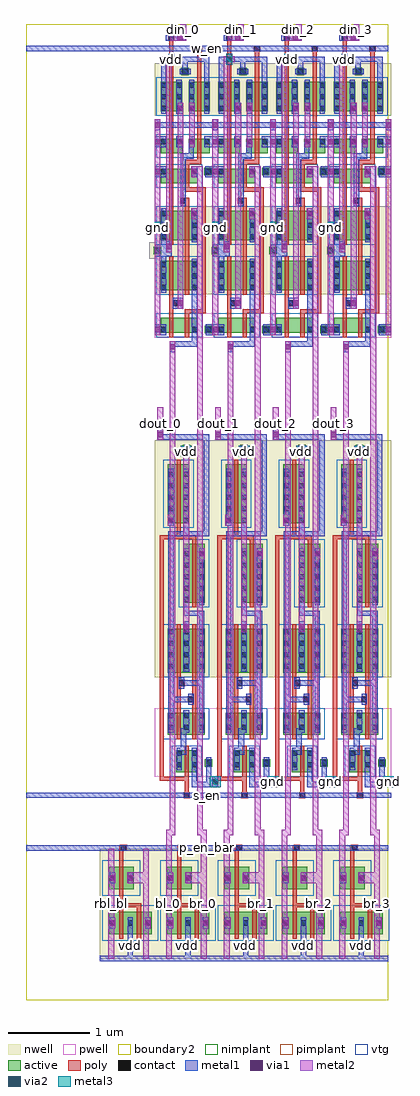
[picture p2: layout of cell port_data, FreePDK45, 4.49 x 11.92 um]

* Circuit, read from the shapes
.subckt port_data bl_0 bl_1 bl_2 bl_3 br_0 br_1 br_2 br_3 din_0 din_1 din_2 din_3 dout_0 dout_1 dout_2 dout_3 gnd p_en_bar rbl_bl rbl_br s_en vdd w_en
M1 n1 n2 gnd gnd nfet w=0.18u l=0.05u
M2 n3 din_0 gnd gnd nfet w=0.18u l=0.05u
M3 n2 din_0 gnd gnd nfet w=0.18u l=0.05u
M4 n4 n5 dout_0 gnd nfet w=0.27u l=0.05u
M5 gnd s_en n4 gnd nfet w=0.27u l=0.05u
M6 bl_0 w_en n1 gnd nfet w=0.18u l=0.05u
M7 br_0 w_en n3 gnd nfet w=0.18u l=0.05u
M8 n5 dout_0 n4 gnd nfet w=0.27u l=0.05u
M9 gnd w_en n6 gnd nfet w=0.18u l=0.05u
M10 n7 n8 gnd gnd nfet w=0.18u l=0.05u
M11 n9 din_1 gnd gnd nfet w=0.18u l=0.05u
M12 n8 din_1 gnd gnd nfet w=0.18u l=0.05u
M13 n10 n11 dout_1 gnd nfet w=0.27u l=0.05u
M14 gnd s_en n10 gnd nfet w=0.27u l=0.05u
M15 bl_1 w_en n7 gnd nfet w=0.18u l=0.05u
M16 br_1 w_en n9 gnd nfet w=0.18u l=0.05u
M17 n11 dout_1 n10 gnd nfet w=0.27u l=0.05u
M18 gnd w_en n12 gnd nfet w=0.18u l=0.05u
M19 n13 n14 gnd gnd nfet w=0.18u l=0.05u
M20 n15 din_2 gnd gnd nfet w=0.18u l=0.05u
M21 n14 din_2 gnd gnd nfet w=0.18u l=0.05u
M22 n16 n17 dout_2 gnd nfet w=0.27u l=0.05u
M23 gnd s_en n16 gnd nfet w=0.27u l=0.05u
M24 bl_2 w_en n13 gnd nfet w=0.18u l=0.05u
M25 br_2 w_en n15 gnd nfet w=0.18u l=0.05u
M26 n17 dout_2 n16 gnd nfet w=0.27u l=0.05u
M27 gnd w_en n18 gnd nfet w=0.18u l=0.05u
M28 n19 n20 gnd gnd nfet w=0.18u l=0.05u
M29 n21 din_3 gnd gnd nfet w=0.18u l=0.05u
M30 n20 din_3 gnd gnd nfet w=0.18u l=0.05u
M31 n22 n23 dout_3 gnd nfet w=0.27u l=0.05u
M32 gnd s_en n22 gnd nfet w=0.27u l=0.05u
M33 bl_3 w_en n19 gnd nfet w=0.18u l=0.05u
M34 br_3 w_en n21 gnd nfet w=0.18u l=0.05u
M35 n23 dout_3 n22 gnd nfet w=0.27u l=0.05u
M36 gnd w_en n24 gnd nfet w=0.18u l=0.05u
M37 vdd p_en_bar rbl_bl vdd pfet w=0.27u l=0.05u
M38 rbl_br p_en_bar rbl_bl vdd pfet w=0.27u l=0.05u
M39 rbl_br p_en_bar vdd vdd pfet w=0.27u l=0.05u
M40 n25 n2 vdd vdd pfet w=0.36u l=0.05u
M41 n26 din_0 vdd vdd pfet w=0.36u l=0.05u
M42 n2 din_0 vdd vdd pfet w=0.36u l=0.05u
M43 vdd n5 dout_0 vdd pfet w=0.54u l=0.05u
M44 dout_0 s_en bl_0 vdd pfet w=0.72u l=0.05u
M45 vdd p_en_bar bl_0 vdd pfet w=0.27u l=0.05u
M46 br_0 p_en_bar bl_0 vdd pfet w=0.27u l=0.05u
M47 bl_0 n6 n25 vdd pfet w=0.36u l=0.05u
M48 br_0 n6 n26 vdd pfet w=0.36u l=0.05u
M49 n5 dout_0 vdd vdd pfet w=0.54u l=0.05u
M50 br_0 s_en n5 vdd pfet w=0.72u l=0.05u
M51 br_0 p_en_bar vdd vdd pfet w=0.27u l=0.05u
M52 vdd w_en n6 vdd pfet w=0.36u l=0.05u
M53 n27 n8 vdd vdd pfet w=0.36u l=0.05u
M54 n28 din_1 vdd vdd pfet w=0.36u l=0.05u
M55 n8 din_1 vdd vdd pfet w=0.36u l=0.05u
M56 vdd n11 dout_1 vdd pfet w=0.54u l=0.05u
M57 dout_1 s_en bl_1 vdd pfet w=0.72u l=0.05u
M58 vdd p_en_bar bl_1 vdd pfet w=0.27u l=0.05u
M59 br_1 p_en_bar bl_1 vdd pfet w=0.27u l=0.05u
M60 bl_1 n12 n27 vdd pfet w=0.36u l=0.05u
M61 br_1 n12 n28 vdd pfet w=0.36u l=0.05u
M62 n11 dout_1 vdd vdd pfet w=0.54u l=0.05u
M63 br_1 s_en n11 vdd pfet w=0.72u l=0.05u
M64 br_1 p_en_bar vdd vdd pfet w=0.27u l=0.05u
M65 vdd w_en n12 vdd pfet w=0.36u l=0.05u
M66 n29 n14 vdd vdd pfet w=0.36u l=0.05u
M67 n30 din_2 vdd vdd pfet w=0.36u l=0.05u
M68 n14 din_2 vdd vdd pfet w=0.36u l=0.05u
M69 vdd n17 dout_2 vdd pfet w=0.54u l=0.05u
M70 dout_2 s_en bl_2 vdd pfet w=0.72u l=0.05u
M71 vdd p_en_bar bl_2 vdd pfet w=0.27u l=0.05u
M72 br_2 p_en_bar bl_2 vdd pfet w=0.27u l=0.05u
M73 bl_2 n18 n29 vdd pfet w=0.36u l=0.05u
M74 br_2 n18 n30 vdd pfet w=0.36u l=0.05u
M75 n17 dout_2 vdd vdd pfet w=0.54u l=0.05u
M76 br_2 s_en n17 vdd pfet w=0.72u l=0.05u
M77 br_2 p_en_bar vdd vdd pfet w=0.27u l=0.05u
M78 vdd w_en n18 vdd pfet w=0.36u l=0.05u
M79 n31 n20 vdd vdd pfet w=0.36u l=0.05u
M80 n32 din_3 vdd vdd pfet w=0.36u l=0.05u
M81 n20 din_3 vdd vdd pfet w=0.36u l=0.05u
M82 vdd n23 dout_3 vdd pfet w=0.54u l=0.05u
M83 dout_3 s_en bl_3 vdd pfet w=0.72u l=0.05u
M84 vdd p_en_bar bl_3 vdd pfet w=0.27u l=0.05u
M85 br_3 p_en_bar bl_3 vdd pfet w=0.27u l=0.05u
M86 bl_3 n24 n31 vdd pfet w=0.36u l=0.05u
M87 br_3 n24 n32 vdd pfet w=0.36u l=0.05u
M88 n23 dout_3 vdd vdd pfet w=0.54u l=0.05u
M89 br_3 s_en n23 vdd pfet w=0.72u l=0.05u
M90 br_3 p_en_bar vdd vdd pfet w=0.27u l=0.05u
M91 vdd w_en n24 vdd pfet w=0.36u l=0.05u
.ends

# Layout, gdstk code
import gdstk
lib = gdstk.Library(unit=1e-6, precision=5e-10)
def R(c, l, rs):  # rectangles x0, y0, x1, y1
    for r in rs: c.add(gdstk.rectangle(r[:2], r[2:], *l))
def A(c, l, x, y, w, h, nx, ny, dx, dy):  # array of equal rectangles
    R(c, l, [(x+i*dx, y+j*dy, x+i*dx+w, y+j*dy+h) for i in range(nx) for j in range(ny)])
active = (1, 0)
pwell = (2, 0)
nwell = (3, 0)
nimplant = (4, 0)
pimplant = (5, 0)
vtg = (6, 0)
poly = (9, 0)
contact = (10, 0)
metal1 = (11, 0)
via1 = (12, 0)
metal2 = (13, 0)
via2 = (14, 0)
metal3 = (15, 0)
boundary2 = (239, 0)

contact_11 = lib.new_cell('contact_11')
R(contact_11, active, [(0,0.0225,0.09,0.1125)])
R(contact_11, nwell, [(-0.055,-0.0325,0.145,0.1675)])
R(contact_11, pimplant, [(0,0.0225,0.09,0.1125)])
R(contact_11, contact, [(0.0125,0.035,0.0775,0.1)])
R(contact_11, metal1, [(0.0125,0,0.0775,0.135)])
R(contact_11, boundary2, [(-0.055,-0.0325,0.145,0.1675)])

pmos_m1_w0_270_sm1_dm1 = lib.new_cell('pmos_m1_w0_270_sm1_dm1')
R(pmos_m1_w0_270_sm1_dm1, active, [(0,0,0.305,0.27)])
R(pmos_m1_w0_270_sm1_dm1, nwell, [(-0.08,-0.08,0.385,0.35)])
R(pmos_m1_w0_270_sm1_dm1, pimplant, [(0,0,0.305,0.27)])
R(pmos_m1_w0_270_sm1_dm1, vtg, [(-0.08,-0.08,0.385,0.35)])
R(pmos_m1_w0_270_sm1_dm1, poly, [(0.1275,-0.055,0.1775,0.325), (0.1275,-0.055,0.1775,0.325)])
R(pmos_m1_w0_270_sm1_dm1, metal1, [(0.0125,0.0675,0.0775,0.2025), (0.2275,0.0675,0.2925,0.2025)])
R(pmos_m1_w0_270_sm1_dm1, boundary2, [(-0.08,-0.08,0.385,0.35)])
pmos_m1_w0_270_sm1_dm1.add(gdstk.Reference(contact_11, (0,0.0675)))
pmos_m1_w0_270_sm1_dm1.add(gdstk.Reference(contact_11, (0.215,0.0675)))
pmos_m1_w0_270_sm1_dm1.add(gdstk.Label('G', (0.1525,0.135), layer=9, texttype=0))
pmos_m1_w0_270_sm1_dm1.add(gdstk.Label('S', (0.045,0.135), layer=11, texttype=0))
pmos_m1_w0_270_sm1_dm1.add(gdstk.Label('D', (0.26,0.135), layer=11, texttype=0))

contact_14 = lib.new_cell('contact_14')
R(contact_14, poly, [(0.03,0,0.105,0.075)])
R(contact_14, contact, [(0.035,0.005,0.1,0.07)])
R(contact_14, metal1, [(0,0.005,0.135,0.07)])
R(contact_14, boundary2, [(0,0,0.135,0.075)])

contact_20 = lib.new_cell('contact_20')
R(contact_20, active, [(0.0225,0,0.1125,0.09)])
R(contact_20, nwell, [(-0.0325,-0.055,0.1675,0.145)])
R(contact_20, nimplant, [(0.0225,0,0.1125,0.09)])
R(contact_20, contact, [(0.035,0.0125,0.1,0.0775)])
R(contact_20, metal1, [(0,0.0125,0.135,0.0775)])
R(contact_20, boundary2, [(-0.0325,-0.055,0.1675,0.145)])

contact_17 = lib.new_cell('contact_17')
R(contact_17, metal1, [(0,0.035,0.135,0.1)])
R(contact_17, via1, [(0.035,0.035,0.1,0.1)])
R(contact_17, metal2, [(0.0325,0,0.1025,0.135)])
R(contact_17, boundary2, [(0,0,0.135,0.135)])

contact_21 = lib.new_cell('contact_21')
R(contact_21, metal1, [(0.0025,0,0.0675,0.135)])
R(contact_21, via1, [(0.0025,0.035,0.0675,0.1)])
R(contact_21, metal2, [(0,0,0.07,0.135)])
R(contact_21, boundary2, [(0,0,0.07,0.135)])

contact_22 = lib.new_cell('contact_22')
R(contact_22, metal2, [(0,0,0.07,0.135)])
R(contact_22, via2, [(0.0025,0.035,0.0675,0.1)])
R(contact_22, metal3, [(0,0,0.07,0.135)])
R(contact_22, boundary2, [(0,0,0.07,0.135)])

precharge_0 = lib.new_cell('precharge_0')
R(precharge_0, nwell, [(0,0,0.705,1.34)])
R(precharge_0, poly, [(0.24,-0.0375,0.29,0.0125), (0.265,-0.0375,0.29,0.0125), (0.24,-0.0125,0.29,0.165), (0.24,0.545,0.29,0.715), (0.24,0.665,0.505,0.715)])
R(precharge_0, metal1, [(0,-0.045,0.705,0.02), (0.34,0.8725,0.405,0.9375), (0.34,0.905,0.405,1.34), (0,1.3075,0.705,1.3725)])
R(precharge_0, metal2, [(0.105,0,0.175,1.34), (0.105,0,0.175,1.34), (0.53,0,0.6,1.34), (0.53,0,0.6,1.34), (0.14,0.2875,0.1575,0.4225), (0.3725,0.2875,0.565,0.4225), (0.14,0.8375,0.1575,0.9725), (0.565,0.8375,0.5875,0.9725)])
R(precharge_0, metal3, [(0.3375,1.1175,0.4075,1.2525)])
R(precharge_0, boundary2, [(0,0,0.705,1.34)])
precharge_0.add(gdstk.Reference(pmos_m1_w0_270_sm1_dm1, (0.1125,0.22)))
precharge_0.add(gdstk.Reference(pmos_m1_w0_270_sm1_dm1, (0.1125,0.77)))
precharge_0.add(gdstk.Reference(pmos_m1_w0_270_sm1_dm1, (0.3275,0.77)))
precharge_0.add(gdstk.Reference(contact_14, (0.2225,-0.05)))
precharge_0.add(gdstk.Reference(contact_20, (0.305,1.14)))
precharge_0.add(gdstk.Reference(contact_17, (0.305,1.1175)))
precharge_0.add(gdstk.Reference(contact_21, (0.3375,1.1175)))
precharge_0.add(gdstk.Reference(contact_22, (0.3375,1.1175)))
precharge_0.add(gdstk.Reference(contact_21, (0.1225,0.2875)))
precharge_0.add(gdstk.Reference(contact_21, (0.3375,0.2875)))
precharge_0.add(gdstk.Reference(contact_21, (0.1225,0.8375)))
precharge_0.add(gdstk.Reference(contact_21, (0.5525,0.8375)))
precharge_0.add(gdstk.Label('en_bar', (0.3525,-0.0125), layer=11, texttype=0))
precharge_0.add(gdstk.Label('vdd', (0.3725,1.185), layer=15, texttype=0))
precharge_0.add(gdstk.Label('bl', (0.14,0.67), layer=13, texttype=0))
precharge_0.add(gdstk.Label('br', (0.565,0.67), layer=13, texttype=0))

precharge_array = lib.new_cell('precharge_array')
A(precharge_array, metal1, 1.22, -0.045, 0.065, 0.065, 5, 1, 0.705, 0)
R(precharge_array, metal1, [(0,-0.045,4.425,0.02)])
R(precharge_array, metal2, [(1.005,0,1.075,1.34), (1.43,0,1.5,1.34), (1.71,0,1.78,1.34), (2.135,0,2.205,1.34), (2.415,0,2.485,1.34), (2.84,0,2.91,1.34), (3.12,0,3.19,1.34), (3.545,0,3.615,1.34), (3.825,0,3.895,1.34), (4.25,0,4.32,1.34)])
A(precharge_array, metal3, 1.2375, 1.1175, 0.07, 0.135, 5, 1, 0.705, 0)
R(precharge_array, boundary2, [(0,0,4.425,1.34)])
precharge_array.add(gdstk.Reference(precharge_0, (0.9,0)))
precharge_array.add(gdstk.Reference(precharge_0, (1.605,0)))
precharge_array.add(gdstk.Reference(precharge_0, (2.31,0)))
precharge_array.add(gdstk.Reference(precharge_0, (3.015,0)))
precharge_array.add(gdstk.Reference(precharge_0, (3.72,0)))
precharge_array.add(gdstk.Label('en_bar', (2.2125,-0.0125), layer=11, texttype=0))
precharge_array.add(gdstk.Label('vdd', (3.3875,1.185), layer=15, texttype=0))
precharge_array.add(gdstk.Label('vdd', (4.0925,1.185), layer=15, texttype=0))
precharge_array.add(gdstk.Label('vdd', (1.2725,1.185), layer=15, texttype=0))
precharge_array.add(gdstk.Label('vdd', (2.6825,1.185), layer=15, texttype=0))
precharge_array.add(gdstk.Label('vdd', (1.9775,1.185), layer=15, texttype=0))
precharge_array.add(gdstk.Label('bl_0', (1.04,0.67), layer=13, texttype=0))
precharge_array.add(gdstk.Label('br_0', (1.465,0.67), layer=13, texttype=0))
precharge_array.add(gdstk.Label('bl_1', (1.745,0.67), layer=13, texttype=0))
precharge_array.add(gdstk.Label('br_1', (2.17,0.67), layer=13, texttype=0))
precharge_array.add(gdstk.Label('bl_2', (2.45,0.67), layer=13, texttype=0))
precharge_array.add(gdstk.Label('br_2', (2.875,0.67), layer=13, texttype=0))
precharge_array.add(gdstk.Label('bl_3', (3.155,0.67), layer=13, texttype=0))
precharge_array.add(gdstk.Label('br_3', (3.58,0.67), layer=13, texttype=0))
precharge_array.add(gdstk.Label('bl_4', (3.86,0.67), layer=13, texttype=0))
precharge_array.add(gdstk.Label('br_4', (4.285,0.67), layer=13, texttype=0))

sense_amp = lib.new_cell('sense_amp')
R(sense_amp, active, [(0.3075,0.455,0.3975,0.545), (0.1275,0.695,0.3875,1.415), (0.1275,0.695,0.2025,1.415), (0.1275,0.695,0.2025,1.415), (0.3125,0.695,0.3875,1.415), (0.3125,0.695,0.3875,1.415), (0.1275,0.78,0.2025,1.415), (0.3125,0.78,0.3875,1.415), (0.3175,1.665,0.5775,2.385), (0.3175,1.665,0.3925,2.385), (0.3175,1.665,0.3925,2.385), (0.5025,1.665,0.5775,2.385), (0.5025,1.665,0.5775,2.385), (0.3175,1.75,0.3925,2.385), (0.5025,1.75,0.5775,2.385), (0.1275,2.7025,0.2025,3.1975), (0.1275,2.7025,0.3875,3.2425), (0.1275,2.7025,0.2025,3.2425), (0.1275,2.7025,0.2025,3.2425), (0.3125,2.7025,0.3875,3.1975), (0.3125,2.7025,0.3875,3.2425), (0.3125,2.7025,0.3875,3.2425), (0.3175,2.7025,0.3925,3.1975), (0.3175,2.7025,0.5775,3.2425), (0.3175,2.7025,0.3925,3.2425), (0.3175,2.7025,0.3925,3.2425), (0.5025,2.7025,0.5775,3.1975), (0.5025,2.7025,0.5775,3.2425), (0.5025,2.7025,0.5775,3.2425), (0.1275,3.7275,0.2025,3.9425), (0.1275,3.7275,0.3875,3.9975), (0.1275,3.7275,0.2025,3.9975), (0.1275,3.7275,0.2025,3.9975), (0.3125,3.7275,0.3875,3.9425), (0.3125,3.7275,0.3875,3.9975), (0.3125,3.7275,0.3875,3.9975), (0.3175,3.7275,0.3925,3.9425), (0.3175,3.7275,0.5775,3.9975), (0.3175,3.7275,0.3925,3.9975), (0.3175,3.7275,0.3925,3.9975), (0.5025,3.7275,0.5775,3.9425), (0.5025,3.7275,0.5775,3.9975), (0.5025,3.7275,0.5775,3.9975), (0.2275,4.185,0.3025,4.4), (0.2275,4.185,0.4875,4.455), (0.2275,4.185,0.3025,4.455), (0.2275,4.185,0.3025,4.455), (0.4125,4.185,0.4875,4.4), (0.4125,4.185,0.4875,4.455), (0.4125,4.185,0.4875,4.455), (0.58,4.295,0.67,4.385)])
R(sense_amp, pwell, [(-0.035,3.6725,0.74,4.51), (0.0725,3.6725,0.4425,4.0525), (0.2625,3.6725,0.6325,4.0525), (0.1725,4.13,0.5425,4.51), (0.525,4.24,0.725,4.44)])
R(sense_amp, nwell, [(-0.035,0.4,0.74,3.2975), (0.2525,0.4,0.4525,0.6), (0.0725,0.64,0.4425,1.47), (0.2625,1.61,0.6325,2.44), (0.0725,2.6475,0.4425,3.2975), (0.2625,2.6475,0.6325,3.2975)])
R(sense_amp, nimplant, [(0.3075,0.455,0.3975,0.545), (0.1275,3.7275,0.3875,3.9975), (0.3175,3.7275,0.5775,3.9975), (0.2275,4.185,0.4875,4.455)])
R(sense_amp, pimplant, [(0.1275,0.695,0.3875,1.415), (0.3175,1.665,0.5775,2.385), (0.1275,2.7025,0.3875,3.2425), (0.3175,2.7025,0.5775,3.2425), (0.58,4.295,0.67,4.385)])
R(sense_amp, vtg, [(0.0725,0.64,0.4425,1.47), (0.2625,1.61,0.6325,2.44), (0.0725,2.6475,0.4425,3.2975), (0.2625,2.6475,0.6325,3.2975), (0.0725,3.6725,0.4425,4.0525), (0.2625,3.6725,0.6325,4.0525), (0.1725,4.13,0.5425,4.51)])
R(sense_amp, poly, [(0.2325,0.64,0.2825,0.695), (0.2325,0.64,0.2825,1.47), (0.2325,1.415,0.2825,1.47), (0.2325,1.47,0.2825,1.56), (0.0275,1.56,0.4725,1.61), (0.0275,1.61,0.0775,4.51), (0.4225,1.61,0.4725,1.665), (0.4225,1.61,0.4725,2.44), (0.4225,2.385,0.4725,2.44), (0.2325,2.6475,0.2825,2.7025), (0.2325,2.6475,0.2825,3.2975), (0.4225,2.6475,0.4725,2.7025), (0.4225,2.6475,0.4725,3.2975), (0.2325,2.915,0.2825,3.6725), (0.4225,2.915,0.4725,3.6725), (0.2325,3.2425,0.2825,3.2975), (0.4225,3.2425,0.4725,3.2975), (0.2575,3.3275,0.3325,3.4025), (0.3725,3.5275,0.4475,3.6025), (0.2325,3.6725,0.2825,3.7275), (0.2325,3.6725,0.2825,4.0525), (0.4225,3.6725,0.4725,3.7275), (0.4225,3.6725,0.4725,4.0525), (0.2325,3.9975,0.2825,4.0525), (0.4225,3.9975,0.4725,4.0525), (0.3325,4.13,0.3825,4.185), (0.3325,4.13,0.3825,4.51), (0.3325,4.455,0.3825,4.51), (0.0275,4.51,0.3825,4.56), (0.3325,4.56,0.3825,4.765), (0.32,4.6975,0.395,4.7725)])
A(sense_amp, contact, 0.1325, 0.785, 0.065, 0.065, 1, 5, 0, 0.14)
A(sense_amp, contact, 0.3175, 0.785, 0.065, 0.065, 1, 5, 0, 0.14)
A(sense_amp, contact, 0.3225, 1.755, 0.065, 0.065, 1, 5, 0, 0.14)
A(sense_amp, contact, 0.5075, 1.755, 0.065, 0.065, 1, 5, 0, 0.14)
A(sense_amp, contact, 0.1325, 2.7075, 0.065, 0.065, 1, 4, 0, 0.14)
A(sense_amp, contact, 0.3225, 2.7075, 0.065, 0.065, 1, 4, 0, 0.14)
A(sense_amp, contact, 0.5075, 2.7075, 0.065, 0.065, 1, 4, 0, 0.14)
R(sense_amp, contact, [(0.32,0.4675,0.385,0.5325), (0.2625,3.3325,0.3275,3.3975), (0.3775,3.5325,0.4425,3.5975), (0.1325,3.7325,0.1975,3.7975), (0.3225,3.7325,0.3875,3.7975), (0.5075,3.7325,0.5725,3.7975), (0.1325,3.8725,0.1975,3.9375), (0.3225,3.8725,0.3875,3.9375), (0.5075,3.8725,0.5725,3.9375), (0.2325,4.19,0.2975,4.255), (0.4175,4.19,0.4825,4.255), (0.5925,4.3075,0.6575,4.3725), (0.2325,4.33,0.2975,4.395), (0.4175,4.33,0.4825,4.395), (0.325,4.7025,0.39,4.7675)])
R(sense_amp, metal1, [(0.0025,0.2625,0.0675,0.3975), (0.0025,0.3275,0.63,0.3975), (0.565,0.3275,0.63,1.575), (0.285,0.4675,0.42,0.5325), (0.32,0.4675,0.385,0.6025), (0.1325,0.75,0.1975,1.445), (0.3175,0.75,0.3825,1.445), (0.1275,1.31,0.1925,1.445), (0.32,1.3775,0.385,1.575), (0.1325,1.51,0.63,1.575), (0.1325,1.575,0.1975,2.6725), (0.3225,1.72,0.3875,2.415), (0.5075,1.72,0.5725,2.415), (0.51,1.72,0.575,1.855), (0.3225,2.35,0.3875,2.545), (0.3225,2.48,0.5725,2.545), (0.5075,2.48,0.5725,2.675), (0.32,2.61,0.385,2.745), (0.1325,2.6725,0.1975,3.2275), (0.3175,2.6725,0.3825,3.2275), (0.3225,2.6725,0.3875,3.2275), (0.5075,2.6725,0.5725,3.2275), (0.1325,2.835,0.1975,3.7025), (0.5075,2.835,0.5725,3.6975), (0.2625,3.2975,0.3275,3.4325), (0.2825,3.3325,0.5725,3.3975), (0.3775,3.4975,0.4425,3.6325), (0.1325,3.5325,0.4225,3.5975), (0.1325,3.6975,0.1975,3.9725), (0.3175,3.6975,0.3825,3.9725), (0.3225,3.6975,0.3875,3.9725), (0.5075,3.6975,0.5725,3.9725), (0.2825,3.915,0.3525,4.2425), (0.2325,4.155,0.2975,4.43), (0.4175,4.155,0.4825,4.43), (0.5925,4.2725,0.6575,4.4075), (0.5925,4.4075,0.6575,4.6375), (0.4175,4.42,0.4825,4.5725), (0.6575,4.5025,0.6725,4.5725), (0.6725,4.5025,0.7375,4.6375), (0.4175,4.5725,0.74,4.6375), (-0.035,4.7025,0.74,4.7675), (-0.035,4.7025,0.74,4.7675), (0.23,4.7025,0.295,4.7675), (0.29,4.7025,0.425,4.7675)])
R(sense_amp, via1, [(0.0025,0.2975,0.0675,0.3625), (0.32,0.5025,0.385,0.5675), (0.1275,1.345,0.1925,1.41), (0.51,1.755,0.575,1.82), (0.32,2.645,0.385,2.71), (0.6725,4.5375,0.7375,4.6025)])
R(sense_amp, metal2, [(0,0,0.07,0.3975), (0,0,0.07,0.3975), (0.15,0,0.22,4.885), (0.15,0,0.22,4.885), (0.485,0,0.555,4.885), (0.485,0,0.555,4.885), (0.3175,0.4675,0.3875,0.6025), (0.3175,0.4675,0.3875,0.6025), (0.3175,0.6,0.3875,2.61), (0.125,1.31,0.195,1.445), (0.5075,1.72,0.5775,1.855), (0.3175,2.61,0.3875,2.745), (0.67,4.5025,0.74,4.6375), (0.67,4.5025,0.74,4.6375)])
R(sense_amp, boundary2, [(0,0,0.705,4.885)])
sense_amp.add(gdstk.Label('en', (0.258,4.735), layer=11, texttype=0))
sense_amp.add(gdstk.Label('dout', (0.0345,0.023), layer=13, texttype=0))
sense_amp.add(gdstk.Label('gnd', (0.7025,4.61), layer=13, texttype=0))
sense_amp.add(gdstk.Label('br', (0.52,0.023), layer=13, texttype=0))
sense_amp.add(gdstk.Label('bl', (0.19,0.03), layer=13, texttype=0))
sense_amp.add(gdstk.Label('vdd', (0.3525,0.505), layer=13, texttype=0))
sense_amp.add(gdstk.Label('bl', (0.185,2.4425), layer=13, texttype=0))
sense_amp.add(gdstk.Label('br', (0.52,2.4425), layer=13, texttype=0))
sense_amp.add(gdstk.Label('dout', (0.035,0.199), layer=13, texttype=0))
sense_amp.add(gdstk.Label('en', (0.3525,4.735), layer=11, texttype=0))
sense_amp.add(gdstk.Label('vdd', (0.3525,0.535), layer=13, texttype=0))
sense_amp.add(gdstk.Label('gnd', (0.705,4.57), layer=13, texttype=0))

contact_6 = lib.new_cell('contact_6')
R(contact_6, metal2, [(0.0325,0,0.1025,0.135)])
R(contact_6, via2, [(0.035,0.035,0.1,0.1)])
R(contact_6, metal3, [(0,0.0325,0.135,0.1025)])
R(contact_6, boundary2, [(0,0,0.135,0.135)])

sense_amp_array = lib.new_cell('sense_amp_array')
A(sense_amp_array, metal1, 1.925, 4.7025, 0.065, 0.065, 4, 1, 0.705, 0)
R(sense_amp_array, metal1, [(0,4.7025,4.425,4.7675)])
A(sense_amp_array, metal2, 1.605, 0, 0.07, 0.3975, 4, 1, 0.705, 0)
R(sense_amp_array, metal2, [(1.755,0,1.825,4.885), (2.09,0,2.16,4.885), (2.46,0,2.53,4.885), (2.795,0,2.865,4.885), (3.165,0,3.235,4.885), (3.5,0,3.57,4.885), (3.87,0,3.94,4.885), (4.205,0,4.275,4.885)])
A(sense_amp_array, metal3, 1.89, 0.4675, 0.135, 0.135, 4, 1, 0.705, 0)
A(sense_amp_array, metal3, 2.2425, 4.5025, 0.135, 0.135, 4, 1, 0.705, 0)
R(sense_amp_array, boundary2, [(0,0,4.425,4.885)])
sense_amp_array.add(gdstk.Reference(sense_amp, (1.605,0)))
sense_amp_array.add(gdstk.Reference(sense_amp, (2.31,0)))
sense_amp_array.add(gdstk.Reference(sense_amp, (3.015,0)))
sense_amp_array.add(gdstk.Reference(sense_amp, (3.72,0)))
sense_amp_array.add(gdstk.Reference(contact_6, (2.2425,4.5025)))
sense_amp_array.add(gdstk.Reference(contact_6, (1.89,0.4675)))
sense_amp_array.add(gdstk.Reference(contact_6, (2.9475,4.5025)))
sense_amp_array.add(gdstk.Reference(contact_6, (2.595,0.4675)))
sense_amp_array.add(gdstk.Reference(contact_6, (3.6525,4.5025)))
sense_amp_array.add(gdstk.Reference(contact_6, (3.3,0.4675)))
sense_amp_array.add(gdstk.Reference(contact_6, (4.3575,4.5025)))
sense_amp_array.add(gdstk.Reference(contact_6, (4.005,0.4675)))
sense_amp_array.add(gdstk.Label('gnd', (3.72,4.57), layer=15, texttype=0))
sense_amp_array.add(gdstk.Label('gnd', (4.425,4.57), layer=15, texttype=0))
sense_amp_array.add(gdstk.Label('gnd', (3.015,4.57), layer=15, texttype=0))
sense_amp_array.add(gdstk.Label('gnd', (2.31,4.57), layer=15, texttype=0))
sense_amp_array.add(gdstk.Label('vdd', (3.3675,0.535), layer=15, texttype=0))
sense_amp_array.add(gdstk.Label('vdd', (1.9575,0.535), layer=15, texttype=0))
sense_amp_array.add(gdstk.Label('vdd', (2.6625,0.535), layer=15, texttype=0))
sense_amp_array.add(gdstk.Label('vdd', (4.0725,0.535), layer=15, texttype=0))
sense_amp_array.add(gdstk.Label('bl_0', (1.79,2.4425), layer=13, texttype=0))
sense_amp_array.add(gdstk.Label('br_0', (2.125,2.4425), layer=13, texttype=0))
sense_amp_array.add(gdstk.Label('data_0', (1.64,0.199), layer=13, texttype=0))
sense_amp_array.add(gdstk.Label('bl_1', (2.495,2.4425), layer=13, texttype=0))
sense_amp_array.add(gdstk.Label('br_1', (2.83,2.4425), layer=13, texttype=0))
sense_amp_array.add(gdstk.Label('data_1', (2.345,0.199), layer=13, texttype=0))
sense_amp_array.add(gdstk.Label('bl_2', (3.2,2.4425), layer=13, texttype=0))
sense_amp_array.add(gdstk.Label('br_2', (3.535,2.4425), layer=13, texttype=0))
sense_amp_array.add(gdstk.Label('data_2', (3.05,0.199), layer=13, texttype=0))
sense_amp_array.add(gdstk.Label('bl_3', (3.905,2.4425), layer=13, texttype=0))
sense_amp_array.add(gdstk.Label('br_3', (4.24,2.4425), layer=13, texttype=0))
sense_amp_array.add(gdstk.Label('data_3', (3.755,0.199), layer=13, texttype=0))
sense_amp_array.add(gdstk.Label('en', (2.2125,4.735), layer=11, texttype=0))

write_driver = lib.new_cell('write_driver')
R(write_driver, active, [(0.2925,0.535,0.3825,0.625), (0.04,0.705,0.115,1.065), (0.04,0.705,0.115,1.065), (0.04,0.705,0.3,1.065), (0.225,0.705,0.3,1.065), (0.225,0.705,0.3,1.065), (0.38,0.705,0.455,1.065), (0.38,0.705,0.455,1.065), (0.38,0.705,0.64,1.065), (0.565,0.705,0.64,1.065), (0.565,0.705,0.64,1.065), (0.04,0.71,0.115,1.065), (0.225,0.71,0.3,1.065), (0.38,0.71,0.455,1.065), (0.565,0.71,0.64,1.065), (0.04,1.4,0.115,1.58), (0.04,1.4,0.115,1.58), (0.04,1.4,0.3,1.58), (0.04,1.4,0.115,1.475), (0.225,1.4,0.3,1.58), (0.225,1.4,0.3,1.58), (0.225,1.4,0.3,1.475), (0.38,1.4,0.455,1.58), (0.38,1.4,0.455,1.58), (0.38,1.4,0.64,1.58), (0.38,1.4,0.455,1.475), (0.565,1.4,0.64,1.58), (0.565,1.4,0.64,1.58), (0.565,1.4,0.64,1.475), (0.5725,1.7575,0.6625,1.8475), (0.04,1.765,0.115,1.945), (0.04,1.765,0.115,1.945), (0.04,1.765,0.115,1.84), (0.04,1.765,0.49,1.945), (0.1975,1.765,0.3375,1.945), (0.415,1.765,0.49,1.945), (0.415,1.765,0.49,1.945), (0.415,1.765,0.49,1.84), (0.04,2.28,0.115,2.64), (0.04,2.28,0.115,2.64), (0.04,2.28,0.115,2.635), (0.04,2.28,0.49,2.64), (0.1975,2.28,0.3375,2.64), (0.415,2.28,0.49,2.64), (0.415,2.28,0.49,2.64), (0.415,2.28,0.49,2.635), (-0.045,2.72,0.045,2.81), (0.04,2.8925,0.115,3.2525), (0.04,2.8925,0.115,3.2525), (0.04,2.8925,0.49,3.2525), (0.1925,2.8925,0.3325,3.2525), (0.415,2.8925,0.49,3.2525), (0.415,2.8925,0.49,3.2525), (0.04,2.8975,0.115,3.2525), (0.415,2.8975,0.49,3.2525), (0.04,3.5875,0.115,3.7675), (0.04,3.5875,0.115,3.7675), (0.04,3.5875,0.49,3.7675), (0.1925,3.5875,0.3325,3.7675), (0.415,3.5875,0.49,3.7675), (0.415,3.5875,0.49,3.7675), (0.575,3.685,0.665,3.775), (0.04,3.6925,0.115,3.7675), (0.415,3.6925,0.49,3.7675)])
R(write_driver, pwell, [(-0.035,1.345,0.74,2), (-0.015,1.345,0.355,1.635), (0.325,1.345,0.695,1.635), (0.5175,1.7025,0.7175,1.9025), (-0.015,1.71,0.545,2), (-0.035,3.5325,0.74,3.83), (-0.015,3.5325,0.545,3.8225), (0.52,3.63,0.72,3.83)])
R(write_driver, nwell, [(-0.035,0.48,0.74,1.12), (0.2375,0.48,0.4375,0.68), (-0.015,0.65,0.355,1.12), (0.325,0.65,0.695,1.12), (-0.035,2.225,0.74,3.3), (-0.015,2.225,0.545,2.695), (-0.1,2.665,0.1,2.865), (-0.015,2.8375,0.545,3.3075)])
R(write_driver, nimplant, [(0.2925,0.535,0.3825,0.625), (0.04,1.4,0.3,1.58), (0.38,1.4,0.64,1.58), (0.04,1.765,0.49,1.945), (-0.045,2.72,0.045,2.81), (0.04,3.5875,0.49,3.7675)])
R(write_driver, pimplant, [(0.04,0.705,0.3,1.065), (0.38,0.705,0.64,1.065), (0.5725,1.7575,0.6625,1.8475), (0.04,2.28,0.49,2.64), (0.04,2.8925,0.49,3.2525), (0.575,3.685,0.665,3.775)])
R(write_driver, vtg, [(-0.015,0.65,0.355,1.12), (0.325,0.65,0.695,1.12), (-0.015,1.345,0.355,1.635), (0.325,1.345,0.695,1.635), (-0.015,1.71,0.545,2), (-0.015,2.225,0.545,2.695), (-0.015,2.8375,0.545,3.3075), (-0.015,3.5325,0.545,3.8225)])
R(write_driver, poly, [(0.1325,0.1325,0.2075,0.2075), (0.145,0.1375,0.195,0.65), (0.4725,0.2625,0.5475,0.3375), (0.485,0.2675,0.535,0.65), (0.145,0.65,0.195,0.705), (0.145,0.65,0.195,1.12), (0.485,0.65,0.535,0.705), (0.485,0.65,0.535,1.12), (0.145,1.065,0.195,1.12), (0.485,1.065,0.535,1.12), (0.145,1.12,0.195,1.345), (0.485,1.12,0.535,1.345), (0.145,1.345,0.195,1.635), (0.145,1.345,0.195,1.4), (0.485,1.345,0.535,1.635), (0.485,1.345,0.535,1.4), (0.145,1.58,0.195,1.635), (0.485,1.58,0.535,1.635), (0.145,1.635,0.195,1.71), (0.485,1.635,0.535,1.66), (0.335,1.66,0.535,1.71), (0.145,1.71,0.195,2), (0.145,1.71,0.195,1.765), (0.335,1.71,0.385,2), (0.335,1.71,0.385,1.765), (0.145,1.945,0.195,2), (0.335,1.945,0.385,2), (0.335,1.995,0.59,2.045), (0.54,1.995,0.59,3.4825), (0.145,2,0.195,2.225), (0.2775,2.12,0.3525,2.195), (0.335,2.12,0.385,2.225), (0.145,2.225,0.195,2.28), (0.145,2.225,0.195,2.695), (0.335,2.225,0.385,2.28), (0.335,2.225,0.385,2.695), (0.145,2.64,0.195,2.695), (0.335,2.64,0.385,2.695), (0.335,2.695,0.385,2.8375), (0.145,2.8375,0.195,2.8925), (0.145,2.8375,0.195,3.3075), (0.335,2.8375,0.385,2.8925), (0.335,2.8375,0.385,3.3075), (0.145,3.2525,0.195,3.3075), (0.335,3.2525,0.385,3.3075), (0.145,3.3075,0.195,3.5325), (0.18,3.37,0.255,3.445), (0.335,3.4825,0.59,3.5325), (0.145,3.5325,0.195,3.8225), (0.145,3.5325,0.195,3.5875), (0.335,3.5325,0.385,3.8225), (0.335,3.5325,0.385,3.5875), (0.145,3.7675,0.195,3.8225), (0.335,3.7675,0.385,3.8225)])
A(write_driver, contact, 0.045, 0.715, 0.065, 0.065, 1, 3, 0, 0.14)
A(write_driver, contact, 0.23, 0.715, 0.065, 0.065, 1, 3, 0, 0.14)
A(write_driver, contact, 0.385, 0.715, 0.065, 0.065, 1, 3, 0, 0.14)
A(write_driver, contact, 0.57, 0.715, 0.065, 0.065, 1, 3, 0, 0.14)
A(write_driver, contact, 0.045, 2.285, 0.065, 0.065, 1, 3, 0, 0.14)
A(write_driver, contact, 0.42, 2.285, 0.065, 0.065, 1, 3, 0, 0.14)
A(write_driver, contact, 0.045, 2.9025, 0.065, 0.065, 1, 3, 0, 0.14)
A(write_driver, contact, 0.42, 2.9025, 0.065, 0.065, 1, 3, 0, 0.14)
R(write_driver, contact, [(0.1375,0.1375,0.2025,0.2025), (0.4775,0.2675,0.5425,0.3325), (0.305,0.5475,0.37,0.6125), (0.045,1.405,0.11,1.47), (0.23,1.405,0.295,1.47), (0.385,1.405,0.45,1.47), (0.57,1.405,0.635,1.47), (0.045,1.77,0.11,1.835), (0.42,1.77,0.485,1.835), (0.585,1.77,0.65,1.835), (0.2825,2.125,0.3475,2.19), (-0.0325,2.7325,0.0325,2.7975), (0.185,3.375,0.25,3.44), (0.045,3.6975,0.11,3.7625), (0.42,3.6975,0.485,3.7625), (0.5875,3.6975,0.6525,3.7625)])
R(write_driver, metal1, [(0.2075,0.135,0.3425,0.2), (0.1025,0.1375,0.2375,0.2025), (0.045,0.2675,0.635,0.3325), (0.045,0.2675,0.635,0.3325), (0.045,0.3975,0.635,0.4625), (0.105,0.3975,0.24,0.4625), (0.045,0.4625,0.11,0.68), (0.3025,0.4625,0.3675,0.6125), (0.57,0.4625,0.635,0.68), (0.27,0.5475,0.405,0.6125), (0.045,0.68,0.11,1.095), (0.23,0.68,0.295,1.095), (0.385,0.68,0.45,1.095), (0.57,0.68,0.635,1.095), (0.2475,0.96,0.3125,1.095), (0.3875,0.96,0.4525,1.095), (-0.0325,1.165,0.0325,1.3), (0.6725,1.165,0.7375,1.3), (-0.035,1.2,0.74,1.265), (-0.0325,1.37,0.0325,1.505), (0.0275,1.37,0.04,1.505), (0.035,1.37,0.045,1.505), (0.045,1.37,0.11,1.505), (0.23,1.37,0.295,1.505), (0.2475,1.37,0.3125,1.505), (0.385,1.37,0.45,1.505), (0.3875,1.37,0.4525,1.505), (0.57,1.37,0.635,1.505), (0.63,1.37,0.6725,1.505), (0.6725,1.37,0.7375,1.505), (0.38,1.4525,0.445,1.5775), (0.2825,1.5775,0.3475,2.175), (0.2825,1.5775,0.445,1.6425), (-0.0325,1.735,0.0325,1.87), (0.0275,1.735,0.04,1.87), (0.035,1.735,0.045,1.87), (0.045,1.735,0.11,1.87), (0.4175,1.735,0.4825,1.87), (0.42,1.735,0.485,1.87), (0.585,1.735,0.65,1.87), (0.65,1.735,0.6725,1.87), (0.6725,1.735,0.7375,1.87), (0.2825,2.09,0.3475,2.225), (0.045,2.25,0.11,2.665), (0.4175,2.25,0.4825,2.385), (0.42,2.25,0.485,2.665), (0.095,2.65,0.11,2.785), (0.1075,2.65,0.1725,2.785), (0.045,2.665,0.11,2.8675), (-0.0325,2.6975,0.0325,2.8325), (0.0325,2.6975,0.175,2.8325), (0.045,2.8675,0.11,3.2825), (0.42,2.8675,0.485,3.2825), (0.42,3.2825,0.485,3.6625), (0.185,3.34,0.25,3.475), (0.2475,3.34,0.3125,3.475), (-0.0325,3.6625,0.0325,3.7975), (0.0275,3.6625,0.04,3.7975), (0.035,3.6625,0.045,3.7975), (0.045,3.6625,0.11,3.7975), (0.42,3.6625,0.485,3.7975), (0.5875,3.6625,0.6525,3.7975), (0.6525,3.6625,0.6725,3.7975), (0.6725,3.6625,0.7375,3.7975), (0.42,3.7975,0.485,3.8725), (0.15,3.8725,0.485,3.9375), (0.1525,3.8725,0.2175,4.0075)])
R(write_driver, via1, [(0.2425,0.135,0.3075,0.2), (0.14,0.3975,0.205,0.4625), (0.2475,0.995,0.3125,1.06), (0.3875,0.995,0.4525,1.06), (-0.0325,1.2,0.0325,1.265), (0.6725,1.2,0.7375,1.265), (-0.0325,1.405,0.0325,1.47), (0.2475,1.405,0.3125,1.47), (0.3875,1.405,0.4525,1.47), (0.6725,1.405,0.7375,1.47), (-0.0325,1.77,0.0325,1.835), (0.4175,1.77,0.4825,1.835), (0.6725,1.77,0.7375,1.835), (0.4175,2.285,0.4825,2.35), (0.1075,2.685,0.1725,2.75), (0.2475,3.375,0.3125,3.44), (-0.0325,3.6975,0.0325,3.7625), (0.6725,3.6975,0.7375,3.7625), (0.1525,3.9075,0.2175,3.9725)])
R(write_driver, metal2, [(0.28,0,0.35,0.14), (0.28,0,0.35,0.14), (0.1575,0.1325,0.35,0.2025), (0.2075,0.1325,0.3425,0.2025), (0.105,0.395,0.24,0.465), (0.105,0.395,0.24,0.465), (0.105,0.465,0.175,2.785), (0.245,0.96,0.315,1.095), (0.385,0.96,0.455,1.095), (0.245,1.095,0.315,1.37), (0.385,1.095,0.455,1.37), (-0.035,1.1625,0.035,3.7975), (-0.035,1.1625,0.035,3.7975), (-0.035,1.165,0.035,1.3), (0.67,1.165,0.74,3.7975), (0.67,1.165,0.74,1.3), (-0.035,1.37,0.035,1.505), (0.245,1.37,0.315,3.4675), (0.245,1.37,0.315,1.505), (0.385,1.37,0.455,1.505), (0.67,1.37,0.74,1.505), (-0.035,1.735,0.035,1.87), (0.415,1.735,0.485,1.87), (0.485,1.735,0.555,4.175), (0.485,1.735,0.555,4.175), (0.67,1.735,0.74,1.87), (0.415,2.25,0.485,2.385), (0.105,2.65,0.175,2.785), (0.245,3.34,0.315,3.475), (-0.035,3.6625,0.035,3.7975), (0.67,3.6625,0.74,3.7975), (0.15,3.8725,0.22,4.0075), (0.15,3.875,0.22,4.175), (0.15,3.875,0.22,4.175)])
R(write_driver, boundary2, [(0,0,0.705,4.175)])
write_driver.add(gdstk.Label('en', (0.3325,0.3), layer=11, texttype=0))
write_driver.add(gdstk.Label('din', (0.32,0.035), layer=13, texttype=0))
write_driver.add(gdstk.Label('vdd', (0.1725,0.4325), layer=13, texttype=0))
write_driver.add(gdstk.Label('br', (0.52,4.15), layer=13, texttype=0))
write_driver.add(gdstk.Label('bl', (0.19,4.138), layer=13, texttype=0))
write_driver.add(gdstk.Label('gnd', (-0.005,1.57), layer=13, texttype=0))
write_driver.add(gdstk.Label('din', (0.315,0.07), layer=13, texttype=0))
write_driver.add(gdstk.Label('bl', (0.185,4.025), layer=13, texttype=0))
write_driver.add(gdstk.Label('br', (0.52,2.955), layer=13, texttype=0))
write_driver.add(gdstk.Label('en', (0.34,0.3), layer=11, texttype=0))
write_driver.add(gdstk.Label('vdd', (0.1725,0.43), layer=13, texttype=0))
write_driver.add(gdstk.Label('gnd', (0,2.48), layer=13, texttype=0))

write_driver_array = lib.new_cell('write_driver_array')
R(write_driver_array, metal1, [(0,0.2675,4.425,0.3325)])
A(write_driver_array, metal2, 1.885, 0, 0.07, 0.14, 4, 1, 0.705, 0)
A(write_driver_array, metal2, 2.09, 1.735, 0.07, 2.44, 4, 1, 0.705, 0)
A(write_driver_array, metal2, 1.755, 3.875, 0.07, 0.3, 4, 1, 0.705, 0)
A(write_driver_array, metal3, 1.7425, 0.3625, 0.07, 0.135, 4, 1, 0.705, 0)
A(write_driver_array, metal3, 1.57, 2.4125, 0.07, 0.135, 4, 1, 0.705, 0)
R(write_driver_array, boundary2, [(0,0,4.425,4.175)])
write_driver_array.add(gdstk.Reference(write_driver, (1.605,0)))
write_driver_array.add(gdstk.Reference(write_driver, (2.31,0)))
write_driver_array.add(gdstk.Reference(write_driver, (3.015,0)))
write_driver_array.add(gdstk.Reference(write_driver, (3.72,0)))
write_driver_array.add(gdstk.Reference(contact_22, (1.7425,0.3625)))
write_driver_array.add(gdstk.Reference(contact_22, (1.57,2.4125)))
write_driver_array.add(gdstk.Reference(contact_22, (2.4475,0.3625)))
write_driver_array.add(gdstk.Reference(contact_22, (2.275,2.4125)))
write_driver_array.add(gdstk.Reference(contact_22, (3.1525,0.3625)))
write_driver_array.add(gdstk.Reference(contact_22, (2.98,2.4125)))
write_driver_array.add(gdstk.Reference(contact_22, (3.8575,0.3625)))
write_driver_array.add(gdstk.Reference(contact_22, (3.685,2.4125)))
write_driver_array.add(gdstk.Label('data_0', (1.92,0.07), layer=13, texttype=0))
write_driver_array.add(gdstk.Label('bl_0', (1.79,4.025), layer=13, texttype=0))
write_driver_array.add(gdstk.Label('br_0', (2.125,2.955), layer=13, texttype=0))
write_driver_array.add(gdstk.Label('vdd', (1.7775,0.43), layer=15, texttype=0))
write_driver_array.add(gdstk.Label('vdd', (3.1875,0.43), layer=15, texttype=0))
write_driver_array.add(gdstk.Label('vdd', (3.8925,0.43), layer=15, texttype=0))
write_driver_array.add(gdstk.Label('vdd', (2.4825,0.43), layer=15, texttype=0))
write_driver_array.add(gdstk.Label('gnd', (3.015,2.48), layer=15, texttype=0))
write_driver_array.add(gdstk.Label('gnd', (2.31,2.48), layer=15, texttype=0))
write_driver_array.add(gdstk.Label('gnd', (3.72,2.48), layer=15, texttype=0))
write_driver_array.add(gdstk.Label('gnd', (1.605,2.48), layer=15, texttype=0))
write_driver_array.add(gdstk.Label('data_1', (2.625,0.07), layer=13, texttype=0))
write_driver_array.add(gdstk.Label('bl_1', (2.495,4.025), layer=13, texttype=0))
write_driver_array.add(gdstk.Label('br_1', (2.83,2.955), layer=13, texttype=0))
write_driver_array.add(gdstk.Label('data_2', (3.33,0.07), layer=13, texttype=0))
write_driver_array.add(gdstk.Label('bl_2', (3.2,4.025), layer=13, texttype=0))
write_driver_array.add(gdstk.Label('br_2', (3.535,2.955), layer=13, texttype=0))
write_driver_array.add(gdstk.Label('data_3', (4.035,0.07), layer=13, texttype=0))
write_driver_array.add(gdstk.Label('bl_3', (3.905,4.025), layer=13, texttype=0))
write_driver_array.add(gdstk.Label('br_3', (4.24,2.955), layer=13, texttype=0))
write_driver_array.add(gdstk.Label('en', (2.2125,0.3), layer=11, texttype=0))

port_data = lib.new_cell('port_data')
R(port_data, metal1, [(0,1.825,4.425,1.89), (0,2.4675,4.425,2.5325), (0,11.5825,4.425,11.6475)])
A(port_data, metal2, 1.605, 6.8375, 0.07, 0.3975, 4, 1, 0.705, 0)
A(port_data, metal2, 1.755, 7.235, 0.07, 0.365, 4, 1, 0.705, 0)
A(port_data, metal2, 2.09, 7.235, 0.07, 0.225, 4, 1, 0.705, 0)
A(port_data, metal2, 2.09, 7.46, 0.07, 0.28, 4, 1, 0.705, 0)
A(port_data, metal2, 1.755, 7.6, 0.07, 0.14, 4, 1, 0.705, 0)
A(port_data, metal2, 1.885, 11.775, 0.07, 0.14, 4, 1, 0.705, 0)
R(port_data, metal2, [(1.005,0.505,1.075,1.845), (1.43,0.505,1.5,1.845), (1.71,0.505,1.78,1.845), (2.135,0.505,2.205,1.845), (2.415,0.505,2.485,1.845), (2.84,0.505,2.91,1.845), (3.12,0.505,3.19,1.845), (3.545,0.505,3.615,1.845), (3.825,0.505,3.895,1.845), (4.25,0.505,4.32,1.845), (1.71,1.81,1.78,1.88), (2.135,1.81,2.205,1.88), (2.415,1.81,2.485,1.88), (2.84,1.81,2.91,1.88), (3.12,1.81,3.19,1.88), (3.545,1.81,3.615,1.88), (3.825,1.81,3.895,1.88), (4.25,1.81,4.32,1.88), (1.71,1.845,1.78,2.045), (1.71,1.845,1.78,2.045), (2.135,1.845,2.205,2.045), (2.135,1.845,2.205,2.045), (2.415,1.845,2.485,2.045), (2.415,1.845,2.485,2.045), (2.84,1.845,2.91,2.045), (2.84,1.845,2.91,2.045), (3.12,1.845,3.19,2.045), (3.12,1.845,3.19,2.045), (3.545,1.845,3.615,2.045), (3.545,1.845,3.615,2.045), (3.825,1.845,3.895,2.045), (3.825,1.845,3.895,2.045), (4.25,1.845,4.32,2.045), (4.25,1.845,4.32,2.045), (1.71,2.01,1.825,2.08), (2.09,2.01,2.205,2.08), (2.415,2.01,2.53,2.08), (2.795,2.01,2.91,2.08), (3.12,2.01,3.235,2.08), (3.5,2.01,3.615,2.08), (3.825,2.01,3.94,2.08), (4.205,2.01,4.32,2.08), (1.755,2.045,1.825,2.35), (1.755,2.045,1.825,2.35), (2.09,2.045,2.16,2.35), (2.09,2.045,2.16,2.35), (2.46,2.045,2.53,2.35), (2.46,2.045,2.53,2.35), (2.795,2.045,2.865,2.35), (2.795,2.045,2.865,2.35), (3.165,2.045,3.235,2.35), (3.165,2.045,3.235,2.35), (3.5,2.045,3.57,2.35), (3.5,2.045,3.57,2.35), (3.87,2.045,3.94,2.35), (3.87,2.045,3.94,2.35), (4.205,2.045,4.275,2.35), (4.205,2.045,4.275,2.35), (1.755,2.315,1.825,2.385), (2.09,2.315,2.16,2.385), (2.46,2.315,2.53,2.385), (2.795,2.315,2.865,2.385), (3.165,2.315,3.235,2.385), (3.5,2.315,3.57,2.385), (3.87,2.315,3.94,2.385), (4.205,2.315,4.275,2.385)])
A(port_data, metal3, 1.2375, 0.5925, 0.07, 0.135, 5, 1, 0.705, 0)
A(port_data, metal3, 2.2425, 2.5975, 0.135, 0.135, 4, 1, 0.705, 0)
A(port_data, metal3, 1.89, 6.6325, 0.135, 0.135, 4, 1, 0.705, 0)
A(port_data, metal3, 1.57, 9.3675, 0.07, 0.135, 4, 1, 0.705, 0)
A(port_data, metal3, 1.7425, 11.4175, 0.07, 0.135, 4, 1, 0.705, 0)
R(port_data, boundary2, [(0,0,4.425,11.915)])
port_data.add(gdstk.Reference(precharge_array, (0,1.845), x_reflection=True))
port_data.add(gdstk.Reference(sense_amp_array, (0,7.235), x_reflection=True))
port_data.add(gdstk.Reference(write_driver_array, (0,11.915), x_reflection=True))
port_data.add(gdstk.Label('din_0', (1.92,11.845), layer=13, texttype=0))
port_data.add(gdstk.Label('din_1', (2.625,11.845), layer=13, texttype=0))
port_data.add(gdstk.Label('din_2', (3.33,11.845), layer=13, texttype=0))
port_data.add(gdstk.Label('din_3', (4.035,11.845), layer=13, texttype=0))
port_data.add(gdstk.Label('dout_0', (1.64,7.0365), layer=13, texttype=0))
port_data.add(gdstk.Label('dout_1', (2.345,7.0365), layer=13, texttype=0))
port_data.add(gdstk.Label('dout_2', (3.05,7.0365), layer=13, texttype=0))
port_data.add(gdstk.Label('dout_3', (3.755,7.0365), layer=13, texttype=0))
port_data.add(gdstk.Label('rbl_bl', (1.04,1.175), layer=13, texttype=0))
port_data.add(gdstk.Label('rbl_br', (1.465,1.175), layer=13, texttype=0))
port_data.add(gdstk.Label('bl_0', (1.745,1.175), layer=13, texttype=0))
port_data.add(gdstk.Label('br_0', (2.17,1.175), layer=13, texttype=0))
port_data.add(gdstk.Label('bl_1', (2.45,1.175), layer=13, texttype=0))
port_data.add(gdstk.Label('br_1', (2.875,1.175), layer=13, texttype=0))
port_data.add(gdstk.Label('bl_2', (3.155,1.175), layer=13, texttype=0))
port_data.add(gdstk.Label('br_2', (3.58,1.175), layer=13, texttype=0))
port_data.add(gdstk.Label('bl_3', (3.86,1.175), layer=13, texttype=0))
port_data.add(gdstk.Label('br_3', (4.285,1.175), layer=13, texttype=0))
port_data.add(gdstk.Label('p_en_bar', (2.2125,1.8575), layer=11, texttype=0))
port_data.add(gdstk.Label('s_en', (2.2125,2.5), layer=11, texttype=0))
port_data.add(gdstk.Label('w_en', (2.2125,11.615), layer=11, texttype=0))
port_data.add(gdstk.Label('vdd', (2.6625,6.7), layer=15, texttype=0))
port_data.add(gdstk.Label('vdd', (4.0725,6.7), layer=15, texttype=0))
port_data.add(gdstk.Label('vdd', (4.0925,0.66), layer=15, texttype=0))
port_data.add(gdstk.Label('vdd', (3.3675,6.7), layer=15, texttype=0))
port_data.add(gdstk.Label('vdd', (1.2725,0.66), layer=15, texttype=0))
port_data.add(gdstk.Label('vdd', (1.7775,11.485), layer=15, texttype=0))
port_data.add(gdstk.Label('vdd', (3.1875,11.485), layer=15, texttype=0))
port_data.add(gdstk.Label('vdd', (1.9575,6.7), layer=15, texttype=0))
port_data.add(gdstk.Label('vdd', (3.3875,0.66), layer=15, texttype=0))
port_data.add(gdstk.Label('vdd', (3.8925,11.485), layer=15, texttype=0))
port_data.add(gdstk.Label('vdd', (1.9775,0.66), layer=15, texttype=0))
port_data.add(gdstk.Label('vdd', (2.6825,0.66), layer=15, texttype=0))
port_data.add(gdstk.Label('vdd', (2.4825,11.485), layer=15, texttype=0))
port_data.add(gdstk.Label('gnd', (3.72,2.665), layer=15, texttype=0))
port_data.add(gdstk.Label('gnd', (3.015,9.435), layer=15, texttype=0))
port_data.add(gdstk.Label('gnd', (3.72,9.435), layer=15, texttype=0))
port_data.add(gdstk.Label('gnd', (2.31,9.435), layer=15, texttype=0))
port_data.add(gdstk.Label('gnd', (1.605,9.435), layer=15, texttype=0))
port_data.add(gdstk.Label('gnd', (2.31,2.665), layer=15, texttype=0))
port_data.add(gdstk.Label('gnd', (3.015,2.665), layer=15, texttype=0))
port_data.add(gdstk.Label('gnd', (4.425,2.665), layer=15, texttype=0))

lib.write_gds('port_data.gds')
